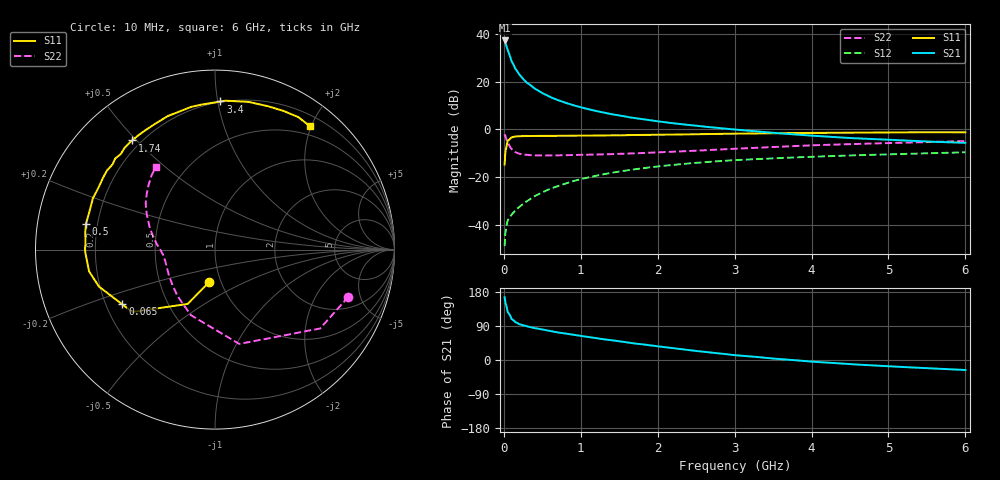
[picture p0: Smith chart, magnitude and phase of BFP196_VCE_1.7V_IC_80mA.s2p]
! Infineon Technologies  Discrete & RF Semiconductors
! BFP196
! VCE = 1.7 V,  IC =  80mA
! Common Emitter S-Parameters:  Jan 2016
# GHz  S  MA  R  50
!  f  S11  S21  S12  S22
! GHz  MAG  ANG  MAG  ANG  MAG  ANG  MAG  ANG
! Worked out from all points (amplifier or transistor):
!   210 points, 10 MHz to 6 GHz, reference 50 ohm
!   highest |S21| = 37.2 dB at 10 MHz (marker M1)
!   |S21| within 3 dB of that: start of sweep to 39.84 MHz
!   unconditionally stable (mu >= 1): 294.9 MHz to 5.303 GHz; 5.67 GHz to end of sweep
!   at 185 MHz: K = 0.86, MSG = 28.3 dB, |S12| = -32.9 dB
!   at 1.52 GHz: K = 1.10, MAG = 9.7 dB, |S12| = -17.5 dB
!   at 6 GHz: K = 1.01, MAG = 1.4 dB, |S12| = -9.6 dB
!   S11 on the Smith chart (normalised r, x): 10 MHz: 0.88, -0.33; 65 MHz: 0.27, -0.26; 500 MHz: 0.16, +0.10; 1.74 GHz: 0.17, +0.49; 3.4 GHz: 0.20, +1.02; 6 GHz: 0.36, +1.98
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0.01  0.1843 -100.4  72.35 165.5  0.0036 74.9  0.7883 -19.5
0.02  0.3388 -116.7  65.69 151.8  0.0067 63.1  0.7323 -36.9
0.05  0.5769 -142.9  45.7 126.4  0.0125 52.0  0.5424 -75.6
0.065  0.5996 -149.4  39.71 122.8  0.0136 51.8  0.4805 -83.5
0.1  0.6785 -162.3  26.8 108.3  0.0163 51.5  0.3893 -110.1
0.15  0.712 -170.2  18.57 99.9  0.0201 53.7  0.334 -128.3
0.2  0.7167 -175.5  14.12 94.7  0.0237 57.4  0.3101 -139.2
0.26  0.724 179.9  10.94 90.8  0.0284 60.8  0.2971 -148.0
0.3  0.7227 177.5  9.463 88.5  0.0314 62.5  0.2928 -151.9
0.4  0.7295 172.2  7.151 84.1  0.04 64.6  0.2859 -159.1
0.5  0.733 168.6  5.73 80.4  0.0479 66.1  0.2839 -163.7
0.6  0.7307 164.5  4.771 76.5  0.0569 66.3  0.2841 -166.8
0.7  0.7327 160.4  4.103 72.7  0.0649 66.0  0.2857 -169.3
1.02  0.7374 149.6  2.839 63.0  0.0922 62.8  0.2914 -174.7
1.3  0.7426 140.2  2.236 54.6  0.1154 59.1  0.2998 -178.3
1.74  0.7636 127.2  1.687 42.7  0.1489 52.5  0.3167 176.6
2.02  0.7701 120.0  1.459 35.6  0.1689 48.1  0.3311 173.1
3.1  0.8133 93.6  0.96 11.2  0.231 31.4  0.3985 158.1
3.4  0.8258 87.9  0.872 5.8  0.2441 27.1  0.4201 154.0
4.1  0.8444 75.6  0.722 -5.5  0.2704 18.3  0.4688 145.2
5.1  0.863 62.5  0.594 -17.6  0.3031 7.0  0.5219 134.6
6  0.8672 52.5  0.522 -26.4  0.3311 -3.0  0.5681 125.5
